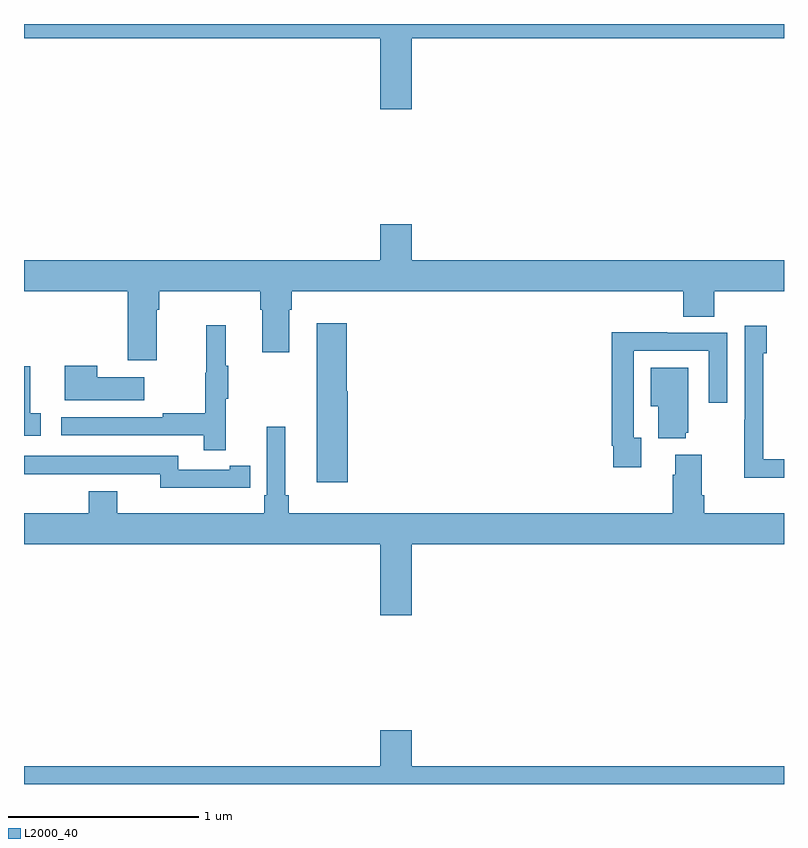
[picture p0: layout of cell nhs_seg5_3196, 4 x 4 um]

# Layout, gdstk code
import gdstk
lib = gdstk.Library(unit=1e-6, precision=1e-09)
def P(c, l, *ps):  # polygons
    for p in ps: c.add(gdstk.Polygon(p, *l))
L2000_40 = (2000, 40)

nhs_seg5_3196 = lib.new_cell('nhs_seg5_3196')
P(nhs_seg5_3196, L2000_40, [(297.04,892.724),(299,892.724),(299,892.799),(295,892.799),(295,892.724),(296.876,892.724),(296.876,892.35),(297.04,892.35)],
  [(295.699,891.296),(295.712,891.296),(295.712,891.392),(296.243,891.392),(296.243,891.296),(296.255,891.296),(296.255,891.072),(296.395,891.072),(296.395,891.296),(296.408,891.296),(296.408,891.392),(298.469,891.392),(298.469,891.259),(298.634,891.259),(298.634,891.392),(299,891.392),(299,891.556),(297.04,891.556),(297.04,891.745),(296.876,891.745),(296.876,891.556),(295,891.556),(295,891.392),(295.547,891.392),(295.547,891.03),(295.699,891.03)],
  [(296.704,890.865),(296.699,890.865),(296.699,891.223),(296.54,891.223),(296.54,890.388),(296.704,890.388)],
  [(296.063,890.827),(296.074,890.827),(296.074,891.001),(296.063,891.001),(296.063,891.214),(295.96,891.214),(295.96,890.964),(295.953,890.964),(295.953,890.75),(295.729,890.75),(295.729,890.73),(295.197,890.73),(295.197,890.634),(295.945,890.634),(295.945,890.556),(296.063,890.556)],
  [(299,890.508),(298.89,890.508),(298.89,891.066),(298.909,891.066),(298.909,891.211),(298.794,891.211),(298.794,890.717),(298.792,890.717),(298.792,890.411),(299,890.411)],
  [(298.249,890.622),(298.209,890.622),(298.209,891.078),(298.605,891.078),(298.605,890.805),(298.701,890.805),(298.701,891.174),(298.385,891.174),(298.385,891.176),(298.093,891.176),(298.093,890.578),(298.101,890.578),(298.101,890.466),(298.249,890.466)],
  [(295.633,890.941),(295.385,890.941),(295.385,891.001),(295.214,891.001),(295.214,890.819),(295.633,890.819)],
  [(295.087,890.751),(295.034,890.751),(295.034,890.998),(295,890.998),(295,890.631),(295.087,890.631)],
  [(298.484,890.649),(298.495,890.649),(298.495,890.989),(298.298,890.989),(298.298,890.786),(298.337,890.786),(298.337,890.618),(298.484,890.618)],
  [(297.04,890.06),(299,890.06),(299,890.224),(298.58,890.224),(298.58,890.32),(298.567,890.32),(298.567,890.533),(298.427,890.533),(298.427,890.426),(298.415,890.426),(298.415,890.224),(296.393,890.224),(296.393,890.32),(296.374,890.32),(296.374,890.68),(296.277,890.68),(296.277,890.32),(296.264,890.32),(296.264,890.224),(295.492,890.224),(295.492,890.341),(295.34,890.341),(295.34,890.224),(295,890.224),(295,890.06),(296.876,890.06),(296.876,889.686),(297.04,889.686)],
  [(296.084,890.358),(296.192,890.358),(296.192,890.474),(296.084,890.474),(296.084,890.454),(295.812,890.454),(295.812,890.526),(295,890.526),(295,890.429),(295.256,890.429),(295.256,890.43),(295.716,890.43),(295.716,890.357),(296.084,890.357)],
  [(299,888.892),(297.04,888.892),(297.04,889.081),(296.876,889.081),(296.876,888.892),(295,888.892),(295,888.799),(299,888.799)])

lib.write_gds('nhs_seg5_3196.gds')
